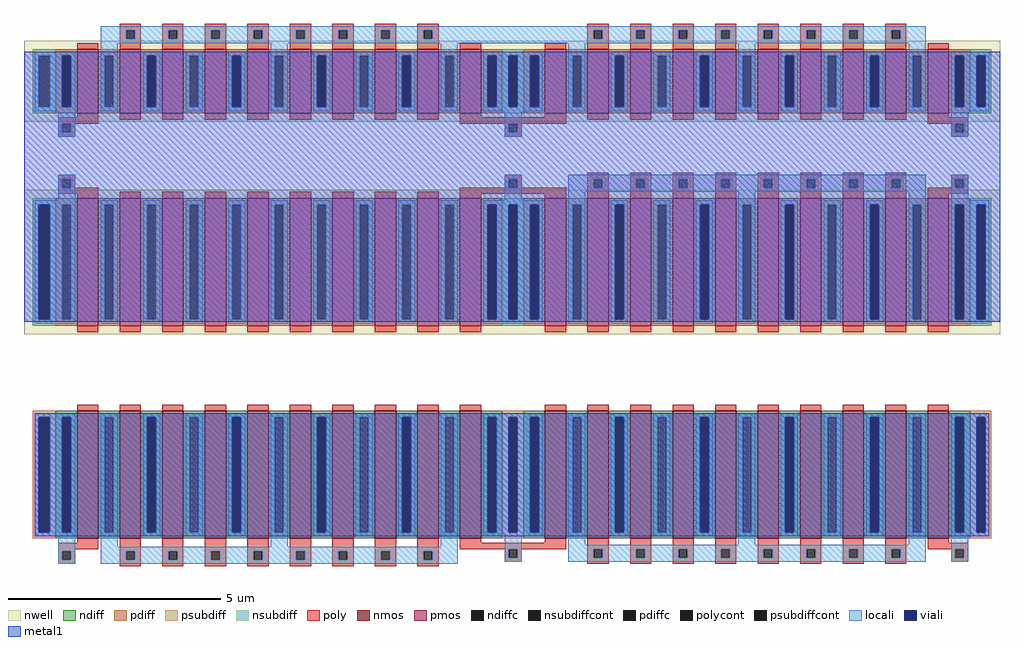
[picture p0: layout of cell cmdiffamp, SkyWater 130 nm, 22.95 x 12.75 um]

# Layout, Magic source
magic
tech sky130A
<< nwell >>
rect -60 975 2235 1165
rect -60 475 2235 815
<< nmos >>
rect 65 -5 115 295
rect 165 -5 215 295
rect 265 -5 315 295
rect 365 -5 415 295
rect 465 -5 515 295
rect 565 -5 615 295
rect 665 -5 715 295
rect 765 -5 815 295
rect 865 -5 915 295
rect 965 -5 1015 295
rect 1165 -5 1215 295
rect 1265 -5 1315 295
rect 1365 -5 1415 295
rect 1465 -5 1515 295
rect 1565 -5 1615 295
rect 1665 -5 1715 295
rect 1765 -5 1815 295
rect 1865 -5 1915 295
rect 1965 -5 2015 295
rect 2065 -5 2115 295
<< pmos >>
rect 65 995 115 1145
rect 165 995 215 1145
rect 265 995 315 1145
rect 365 995 415 1145
rect 465 995 515 1145
rect 565 995 615 1145
rect 665 995 715 1145
rect 765 995 815 1145
rect 865 995 915 1145
rect 965 995 1015 1145
rect 1165 995 1215 1145
rect 1265 995 1315 1145
rect 1365 995 1415 1145
rect 1465 995 1515 1145
rect 1565 995 1615 1145
rect 1665 995 1715 1145
rect 1765 995 1815 1145
rect 1865 995 1915 1145
rect 1965 995 2015 1145
rect 2065 995 2115 1145
rect 65 495 115 795
rect 165 495 215 795
rect 265 495 315 795
rect 365 495 415 795
rect 465 495 515 795
rect 565 495 615 795
rect 665 495 715 795
rect 765 495 815 795
rect 865 495 915 795
rect 965 495 1015 795
rect 1165 495 1215 795
rect 1265 495 1315 795
rect 1365 495 1415 795
rect 1465 495 1515 795
rect 1565 495 1615 795
rect 1665 495 1715 795
rect 1765 495 1815 795
rect 1865 495 1915 795
rect 1965 495 2015 795
rect 2065 495 2115 795
<< ndiff >>
rect 15 280 65 295
rect 15 10 30 280
rect 50 10 65 280
rect 15 -5 65 10
rect 115 280 165 295
rect 115 10 130 280
rect 150 10 165 280
rect 115 -5 165 10
rect 215 280 265 295
rect 215 10 230 280
rect 250 10 265 280
rect 215 -5 265 10
rect 315 280 365 295
rect 315 10 330 280
rect 350 10 365 280
rect 315 -5 365 10
rect 415 280 465 295
rect 415 10 430 280
rect 450 10 465 280
rect 415 -5 465 10
rect 515 280 565 295
rect 515 10 530 280
rect 550 10 565 280
rect 515 -5 565 10
rect 615 280 665 295
rect 615 10 630 280
rect 650 10 665 280
rect 615 -5 665 10
rect 715 280 765 295
rect 715 10 730 280
rect 750 10 765 280
rect 715 -5 765 10
rect 815 280 865 295
rect 815 10 830 280
rect 850 10 865 280
rect 815 -5 865 10
rect 915 280 965 295
rect 915 10 930 280
rect 950 10 965 280
rect 915 -5 965 10
rect 1015 280 1065 295
rect 1115 280 1165 295
rect 1015 10 1030 280
rect 1050 10 1065 280
rect 1115 10 1130 280
rect 1150 10 1165 280
rect 1015 -5 1065 10
rect 1115 -5 1165 10
rect 1215 280 1265 295
rect 1215 10 1230 280
rect 1250 10 1265 280
rect 1215 -5 1265 10
rect 1315 280 1365 295
rect 1315 10 1330 280
rect 1350 10 1365 280
rect 1315 -5 1365 10
rect 1415 280 1465 295
rect 1415 10 1430 280
rect 1450 10 1465 280
rect 1415 -5 1465 10
rect 1515 280 1565 295
rect 1515 10 1530 280
rect 1550 10 1565 280
rect 1515 -5 1565 10
rect 1615 280 1665 295
rect 1615 10 1630 280
rect 1650 10 1665 280
rect 1615 -5 1665 10
rect 1715 280 1765 295
rect 1715 10 1730 280
rect 1750 10 1765 280
rect 1715 -5 1765 10
rect 1815 280 1865 295
rect 1815 10 1830 280
rect 1850 10 1865 280
rect 1815 -5 1865 10
rect 1915 280 1965 295
rect 1915 10 1930 280
rect 1950 10 1965 280
rect 1915 -5 1965 10
rect 2015 280 2065 295
rect 2015 10 2030 280
rect 2050 10 2065 280
rect 2015 -5 2065 10
rect 2115 280 2165 295
rect 2115 10 2130 280
rect 2150 10 2165 280
rect 2115 -5 2165 10
<< pdiff >>
rect 15 1130 65 1145
rect 15 1010 30 1130
rect 50 1010 65 1130
rect 15 995 65 1010
rect 115 1130 165 1145
rect 115 1010 130 1130
rect 150 1010 165 1130
rect 115 995 165 1010
rect 215 1130 265 1145
rect 215 1010 230 1130
rect 250 1010 265 1130
rect 215 995 265 1010
rect 315 1130 365 1145
rect 315 1010 330 1130
rect 350 1010 365 1130
rect 315 995 365 1010
rect 415 1130 465 1145
rect 415 1010 430 1130
rect 450 1010 465 1130
rect 415 995 465 1010
rect 515 1130 565 1145
rect 515 1010 530 1130
rect 550 1010 565 1130
rect 515 995 565 1010
rect 615 1130 665 1145
rect 615 1010 630 1130
rect 650 1010 665 1130
rect 615 995 665 1010
rect 715 1130 765 1145
rect 715 1010 730 1130
rect 750 1010 765 1130
rect 715 995 765 1010
rect 815 1130 865 1145
rect 815 1010 830 1130
rect 850 1010 865 1130
rect 815 995 865 1010
rect 915 1130 965 1145
rect 915 1010 930 1130
rect 950 1010 965 1130
rect 915 995 965 1010
rect 1015 1130 1065 1145
rect 1115 1130 1165 1145
rect 1015 1010 1030 1130
rect 1050 1010 1065 1130
rect 1115 1010 1130 1130
rect 1150 1010 1165 1130
rect 1015 995 1065 1010
rect 1115 995 1165 1010
rect 1215 1130 1265 1145
rect 1215 1010 1230 1130
rect 1250 1010 1265 1130
rect 1215 995 1265 1010
rect 1315 1130 1365 1145
rect 1315 1010 1330 1130
rect 1350 1010 1365 1130
rect 1315 995 1365 1010
rect 1415 1130 1465 1145
rect 1415 1010 1430 1130
rect 1450 1010 1465 1130
rect 1415 995 1465 1010
rect 1515 1130 1565 1145
rect 1515 1010 1530 1130
rect 1550 1010 1565 1130
rect 1515 995 1565 1010
rect 1615 1130 1665 1145
rect 1615 1010 1630 1130
rect 1650 1010 1665 1130
rect 1615 995 1665 1010
rect 1715 1130 1765 1145
rect 1715 1010 1730 1130
rect 1750 1010 1765 1130
rect 1715 995 1765 1010
rect 1815 1130 1865 1145
rect 1815 1010 1830 1130
rect 1850 1010 1865 1130
rect 1815 995 1865 1010
rect 1915 1130 1965 1145
rect 1915 1010 1930 1130
rect 1950 1010 1965 1130
rect 1915 995 1965 1010
rect 2015 1130 2065 1145
rect 2015 1010 2030 1130
rect 2050 1010 2065 1130
rect 2015 995 2065 1010
rect 2115 1130 2165 1145
rect 2115 1010 2130 1130
rect 2150 1010 2165 1130
rect 2115 995 2165 1010
rect 15 780 65 795
rect 15 510 30 780
rect 50 510 65 780
rect 15 495 65 510
rect 115 780 165 795
rect 115 510 130 780
rect 150 510 165 780
rect 115 495 165 510
rect 215 780 265 795
rect 215 510 230 780
rect 250 510 265 780
rect 215 495 265 510
rect 315 780 365 795
rect 315 510 330 780
rect 350 510 365 780
rect 315 495 365 510
rect 415 780 465 795
rect 415 510 430 780
rect 450 510 465 780
rect 415 495 465 510
rect 515 780 565 795
rect 515 510 530 780
rect 550 510 565 780
rect 515 495 565 510
rect 615 780 665 795
rect 615 510 630 780
rect 650 510 665 780
rect 615 495 665 510
rect 715 780 765 795
rect 715 510 730 780
rect 750 510 765 780
rect 715 495 765 510
rect 815 780 865 795
rect 815 510 830 780
rect 850 510 865 780
rect 815 495 865 510
rect 915 780 965 795
rect 915 510 930 780
rect 950 510 965 780
rect 915 495 965 510
rect 1015 780 1065 795
rect 1115 780 1165 795
rect 1015 510 1030 780
rect 1050 510 1065 780
rect 1115 510 1130 780
rect 1150 510 1165 780
rect 1015 495 1065 510
rect 1115 495 1165 510
rect 1215 780 1265 795
rect 1215 510 1230 780
rect 1250 510 1265 780
rect 1215 495 1265 510
rect 1315 780 1365 795
rect 1315 510 1330 780
rect 1350 510 1365 780
rect 1315 495 1365 510
rect 1415 780 1465 795
rect 1415 510 1430 780
rect 1450 510 1465 780
rect 1415 495 1465 510
rect 1515 780 1565 795
rect 1515 510 1530 780
rect 1550 510 1565 780
rect 1515 495 1565 510
rect 1615 780 1665 795
rect 1615 510 1630 780
rect 1650 510 1665 780
rect 1615 495 1665 510
rect 1715 780 1765 795
rect 1715 510 1730 780
rect 1750 510 1765 780
rect 1715 495 1765 510
rect 1815 780 1865 795
rect 1815 510 1830 780
rect 1850 510 1865 780
rect 1815 495 1865 510
rect 1915 780 1965 795
rect 1915 510 1930 780
rect 1950 510 1965 780
rect 1915 495 1965 510
rect 2015 780 2065 795
rect 2015 510 2030 780
rect 2050 510 2065 780
rect 2015 495 2065 510
rect 2115 780 2165 795
rect 2115 510 2130 780
rect 2150 510 2165 780
rect 2115 495 2165 510
<< ndiffc >>
rect 30 10 50 280
rect 130 10 150 280
rect 230 10 250 280
rect 330 10 350 280
rect 430 10 450 280
rect 530 10 550 280
rect 630 10 650 280
rect 730 10 750 280
rect 830 10 850 280
rect 930 10 950 280
rect 1030 10 1050 280
rect 1130 10 1150 280
rect 1230 10 1250 280
rect 1330 10 1350 280
rect 1430 10 1450 280
rect 1530 10 1550 280
rect 1630 10 1650 280
rect 1730 10 1750 280
rect 1830 10 1850 280
rect 1930 10 1950 280
rect 2030 10 2050 280
rect 2130 10 2150 280
<< pdiffc >>
rect 30 1010 50 1130
rect 130 1010 150 1130
rect 230 1010 250 1130
rect 330 1010 350 1130
rect 430 1010 450 1130
rect 530 1010 550 1130
rect 630 1010 650 1130
rect 730 1010 750 1130
rect 830 1010 850 1130
rect 930 1010 950 1130
rect 1030 1010 1050 1130
rect 1130 1010 1150 1130
rect 1230 1010 1250 1130
rect 1330 1010 1350 1130
rect 1430 1010 1450 1130
rect 1530 1010 1550 1130
rect 1630 1010 1650 1130
rect 1730 1010 1750 1130
rect 1830 1010 1850 1130
rect 1930 1010 1950 1130
rect 2030 1010 2050 1130
rect 2130 1010 2150 1130
rect 30 510 50 780
rect 130 510 150 780
rect 230 510 250 780
rect 330 510 350 780
rect 430 510 450 780
rect 530 510 550 780
rect 630 510 650 780
rect 730 510 750 780
rect 830 510 850 780
rect 930 510 950 780
rect 1030 510 1050 780
rect 1130 510 1150 780
rect 1230 510 1250 780
rect 1330 510 1350 780
rect 1430 510 1450 780
rect 1530 510 1550 780
rect 1630 510 1650 780
rect 1730 510 1750 780
rect 1830 510 1850 780
rect 1930 510 1950 780
rect 2030 510 2050 780
rect 2130 510 2150 780
<< psubdiff >>
rect -40 280 15 295
rect -40 10 -25 280
rect 0 10 15 280
rect -40 -5 15 10
rect 1065 280 1115 295
rect 1065 10 1080 280
rect 1100 10 1115 280
rect 1065 -5 1115 10
rect 2165 280 2215 295
rect 2165 10 2180 280
rect 2200 10 2215 280
rect 2165 -5 2215 10
<< nsubdiff >>
rect -40 1130 15 1145
rect -40 1010 -25 1130
rect 0 1010 15 1130
rect -40 995 15 1010
rect 1065 1130 1115 1145
rect 1065 1010 1080 1130
rect 1100 1010 1115 1130
rect 1065 995 1115 1010
rect 2165 1130 2215 1145
rect 2165 1010 2180 1130
rect 2200 1010 2215 1130
rect 2165 995 2215 1010
rect -40 780 15 795
rect -40 510 -25 780
rect 0 510 15 780
rect -40 495 15 510
rect 1065 780 1115 795
rect 1065 510 1080 780
rect 1100 510 1115 780
rect 1065 495 1115 510
rect 2165 780 2215 795
rect 2165 510 2180 780
rect 2200 510 2215 780
rect 2165 495 2215 510
<< psubdiffcont >>
rect -25 10 0 280
rect 1080 10 1100 280
rect 2180 10 2200 280
<< nsubdiffcont >>
rect -25 1010 0 1130
rect 1080 1010 1100 1130
rect 2180 1010 2200 1130
rect -25 510 0 780
rect 1080 510 1100 780
rect 2180 510 2200 780
<< poly >>
rect 165 1190 215 1205
rect 165 1170 180 1190
rect 200 1170 215 1190
rect 65 1145 115 1160
rect 165 1145 215 1170
rect 265 1190 315 1205
rect 265 1170 280 1190
rect 300 1170 315 1190
rect 265 1145 315 1170
rect 365 1190 415 1205
rect 365 1170 380 1190
rect 400 1170 415 1190
rect 365 1145 415 1170
rect 465 1190 515 1205
rect 465 1170 480 1190
rect 500 1170 515 1190
rect 465 1145 515 1170
rect 565 1190 615 1205
rect 565 1170 580 1190
rect 600 1170 615 1190
rect 565 1145 615 1170
rect 665 1190 715 1205
rect 665 1170 680 1190
rect 700 1170 715 1190
rect 665 1145 715 1170
rect 765 1190 815 1205
rect 765 1170 780 1190
rect 800 1170 815 1190
rect 765 1145 815 1170
rect 865 1190 915 1205
rect 865 1170 880 1190
rect 900 1170 915 1190
rect 865 1145 915 1170
rect 1265 1190 1315 1205
rect 1265 1170 1280 1190
rect 1300 1170 1315 1190
rect 965 1145 1015 1160
rect 1165 1145 1215 1160
rect 1265 1145 1315 1170
rect 1365 1190 1415 1205
rect 1365 1170 1380 1190
rect 1400 1170 1415 1190
rect 1365 1145 1415 1170
rect 1465 1190 1515 1205
rect 1465 1170 1480 1190
rect 1500 1170 1515 1190
rect 1465 1145 1515 1170
rect 1565 1190 1615 1205
rect 1565 1170 1580 1190
rect 1600 1170 1615 1190
rect 1565 1145 1615 1170
rect 1665 1190 1715 1205
rect 1665 1170 1680 1190
rect 1700 1170 1715 1190
rect 1665 1145 1715 1170
rect 1765 1190 1815 1205
rect 1765 1170 1780 1190
rect 1800 1170 1815 1190
rect 1765 1145 1815 1170
rect 1865 1190 1915 1205
rect 1865 1170 1880 1190
rect 1900 1170 1915 1190
rect 1865 1145 1915 1170
rect 1965 1190 2015 1205
rect 1965 1170 1980 1190
rect 2000 1170 2015 1190
rect 1965 1145 2015 1170
rect 2065 1145 2115 1160
rect 65 985 115 995
rect 20 970 115 985
rect 165 980 215 995
rect 265 980 315 995
rect 365 980 415 995
rect 465 980 515 995
rect 565 980 615 995
rect 665 980 715 995
rect 765 980 815 995
rect 865 980 915 995
rect 965 985 1015 995
rect 1165 985 1215 995
rect 965 970 1215 985
rect 1265 980 1315 995
rect 1365 980 1415 995
rect 1465 980 1515 995
rect 1565 980 1615 995
rect 1665 980 1715 995
rect 1765 980 1815 995
rect 1865 980 1915 995
rect 1965 980 2015 995
rect 2065 985 2115 995
rect 2065 970 2160 985
rect 20 950 30 970
rect 50 950 60 970
rect 20 940 60 950
rect 1070 950 1080 970
rect 1100 950 1110 970
rect 1070 940 1110 950
rect 2120 950 2130 970
rect 2150 950 2160 970
rect 2120 940 2160 950
rect 20 840 60 850
rect 20 820 30 840
rect 50 820 60 840
rect 1070 840 1110 850
rect 1070 820 1080 840
rect 1100 820 1110 840
rect 1265 840 1315 855
rect 1265 820 1280 840
rect 1300 820 1315 840
rect 20 805 115 820
rect 65 795 115 805
rect 165 795 215 810
rect 265 795 315 810
rect 365 795 415 810
rect 465 795 515 810
rect 565 795 615 810
rect 665 795 715 810
rect 765 795 815 810
rect 865 795 915 810
rect 965 805 1215 820
rect 965 795 1015 805
rect 1165 795 1215 805
rect 1265 795 1315 820
rect 1365 840 1415 855
rect 1365 820 1380 840
rect 1400 820 1415 840
rect 1365 795 1415 820
rect 1465 840 1515 855
rect 1465 820 1480 840
rect 1500 820 1515 840
rect 1465 795 1515 820
rect 1565 840 1615 855
rect 1565 820 1580 840
rect 1600 820 1615 840
rect 1565 795 1615 820
rect 1665 840 1715 855
rect 1665 820 1680 840
rect 1700 820 1715 840
rect 1665 795 1715 820
rect 1765 840 1815 855
rect 1765 820 1780 840
rect 1800 820 1815 840
rect 1765 795 1815 820
rect 1865 840 1915 855
rect 1865 820 1880 840
rect 1900 820 1915 840
rect 1865 795 1915 820
rect 1965 840 2015 855
rect 1965 820 1980 840
rect 2000 820 2015 840
rect 2120 840 2160 850
rect 2120 820 2130 840
rect 2150 820 2160 840
rect 1965 795 2015 820
rect 2065 805 2160 820
rect 2065 795 2115 805
rect 65 480 115 495
rect 165 480 215 495
rect 265 480 315 495
rect 365 480 415 495
rect 465 480 515 495
rect 565 480 615 495
rect 665 480 715 495
rect 765 480 815 495
rect 865 480 915 495
rect 965 480 1015 495
rect 1165 480 1215 495
rect 1265 480 1315 495
rect 1365 480 1415 495
rect 1465 480 1515 495
rect 1565 480 1615 495
rect 1665 480 1715 495
rect 1765 480 1815 495
rect 1865 480 1915 495
rect 1965 480 2015 495
rect 2065 480 2115 495
rect 65 295 115 310
rect 165 295 215 310
rect 265 295 315 310
rect 365 295 415 310
rect 465 295 515 310
rect 565 295 615 310
rect 665 295 715 310
rect 765 295 815 310
rect 865 295 915 310
rect 965 295 1015 310
rect 1165 295 1215 310
rect 1265 295 1315 310
rect 1365 295 1415 310
rect 1465 295 1515 310
rect 1565 295 1615 310
rect 1665 295 1715 310
rect 1765 295 1815 310
rect 1865 295 1915 310
rect 1965 295 2015 310
rect 2065 295 2115 310
rect 65 -15 115 -5
rect 20 -30 115 -15
rect 20 -35 60 -30
rect 20 -55 30 -35
rect 50 -55 60 -35
rect 20 -65 60 -55
rect 165 -35 215 -5
rect 165 -55 180 -35
rect 200 -55 215 -35
rect 165 -70 215 -55
rect 265 -35 315 -5
rect 265 -55 280 -35
rect 300 -55 315 -35
rect 265 -70 315 -55
rect 365 -35 415 -5
rect 365 -55 380 -35
rect 400 -55 415 -35
rect 365 -70 415 -55
rect 465 -35 515 -5
rect 465 -55 480 -35
rect 500 -55 515 -35
rect 465 -70 515 -55
rect 565 -35 615 -5
rect 565 -55 580 -35
rect 600 -55 615 -35
rect 565 -70 615 -55
rect 665 -35 715 -5
rect 665 -55 680 -35
rect 700 -55 715 -35
rect 665 -70 715 -55
rect 765 -35 815 -5
rect 765 -55 780 -35
rect 800 -55 815 -35
rect 765 -70 815 -55
rect 865 -35 915 -5
rect 965 -15 1015 -5
rect 1165 -15 1215 -5
rect 965 -30 1215 -15
rect 1265 -30 1315 -5
rect 865 -55 880 -35
rect 900 -55 915 -35
rect 865 -70 915 -55
rect 1070 -50 1080 -30
rect 1100 -50 1110 -30
rect 1070 -60 1110 -50
rect 1265 -50 1280 -30
rect 1300 -50 1315 -30
rect 1265 -65 1315 -50
rect 1365 -30 1415 -5
rect 1365 -50 1380 -30
rect 1400 -50 1415 -30
rect 1365 -65 1415 -50
rect 1465 -30 1515 -5
rect 1465 -50 1480 -30
rect 1500 -50 1515 -30
rect 1465 -65 1515 -50
rect 1565 -30 1615 -5
rect 1565 -50 1580 -30
rect 1600 -50 1615 -30
rect 1565 -65 1615 -50
rect 1665 -30 1715 -5
rect 1665 -50 1680 -30
rect 1700 -50 1715 -30
rect 1665 -65 1715 -50
rect 1765 -30 1815 -5
rect 1765 -50 1780 -30
rect 1800 -50 1815 -30
rect 1765 -65 1815 -50
rect 1865 -30 1915 -5
rect 1865 -50 1880 -30
rect 1900 -50 1915 -30
rect 1865 -65 1915 -50
rect 1965 -30 2015 -5
rect 2065 -15 2115 -5
rect 2065 -30 2160 -15
rect 1965 -50 1980 -30
rect 2000 -50 2015 -30
rect 1965 -65 2015 -50
rect 2120 -50 2130 -30
rect 2150 -50 2160 -30
rect 2120 -60 2160 -50
<< polycont >>
rect 180 1170 200 1190
rect 280 1170 300 1190
rect 380 1170 400 1190
rect 480 1170 500 1190
rect 580 1170 600 1190
rect 680 1170 700 1190
rect 780 1170 800 1190
rect 880 1170 900 1190
rect 1280 1170 1300 1190
rect 1380 1170 1400 1190
rect 1480 1170 1500 1190
rect 1580 1170 1600 1190
rect 1680 1170 1700 1190
rect 1780 1170 1800 1190
rect 1880 1170 1900 1190
rect 1980 1170 2000 1190
rect 30 950 50 970
rect 1080 950 1100 970
rect 2130 950 2150 970
rect 30 820 50 840
rect 1080 820 1100 840
rect 1280 820 1300 840
rect 1380 820 1400 840
rect 1480 820 1500 840
rect 1580 820 1600 840
rect 1680 820 1700 840
rect 1780 820 1800 840
rect 1880 820 1900 840
rect 1980 820 2000 840
rect 2130 820 2150 840
rect 30 -55 50 -35
rect 180 -55 200 -35
rect 280 -55 300 -35
rect 380 -55 400 -35
rect 480 -55 500 -35
rect 580 -55 600 -35
rect 680 -55 700 -35
rect 780 -55 800 -35
rect 880 -55 900 -35
rect 1080 -50 1100 -30
rect 1280 -50 1300 -30
rect 1380 -50 1400 -30
rect 1480 -50 1500 -30
rect 1580 -50 1600 -30
rect 1680 -50 1700 -30
rect 1780 -50 1800 -30
rect 1880 -50 1900 -30
rect 1980 -50 2000 -30
rect 2130 -50 2150 -30
<< locali >>
rect 120 1190 2060 1200
rect 120 1170 180 1190
rect 200 1170 280 1190
rect 300 1170 380 1190
rect 400 1170 480 1190
rect 500 1170 580 1190
rect 600 1170 680 1190
rect 700 1170 780 1190
rect 800 1170 880 1190
rect 900 1170 1280 1190
rect 1300 1170 1380 1190
rect 1400 1170 1480 1190
rect 1500 1170 1580 1190
rect 1600 1170 1680 1190
rect 1700 1170 1780 1190
rect 1800 1170 1880 1190
rect 1900 1170 1980 1190
rect 2000 1170 2060 1190
rect 120 1160 2060 1170
rect -35 1130 60 1140
rect -35 1010 -25 1130
rect 0 1010 30 1130
rect 50 1010 60 1130
rect -35 1000 60 1010
rect 120 1130 160 1160
rect 120 1010 130 1130
rect 150 1010 160 1130
rect 120 1000 160 1010
rect 220 1130 260 1140
rect 220 1010 230 1130
rect 250 1010 260 1130
rect 220 1000 260 1010
rect 320 1130 360 1140
rect 320 1010 330 1130
rect 350 1010 360 1130
rect 320 1000 360 1010
rect 420 1130 460 1140
rect 420 1010 430 1130
rect 450 1010 460 1130
rect 420 1000 460 1010
rect 520 1130 560 1160
rect 520 1010 530 1130
rect 550 1010 560 1130
rect 520 1000 560 1010
rect 620 1130 660 1140
rect 620 1010 630 1130
rect 650 1010 660 1130
rect 620 1000 660 1010
rect 720 1130 760 1140
rect 720 1010 730 1130
rect 750 1010 760 1130
rect 720 1000 760 1010
rect 820 1130 860 1140
rect 820 1010 830 1130
rect 850 1010 860 1130
rect 820 1000 860 1010
rect 920 1130 960 1160
rect 920 1010 930 1130
rect 950 1010 960 1130
rect 920 1000 960 1010
rect 1020 1130 1160 1140
rect 1020 1010 1030 1130
rect 1050 1010 1080 1130
rect 1100 1010 1130 1130
rect 1150 1010 1160 1130
rect 1020 1000 1160 1010
rect 1220 1130 1260 1160
rect 1220 1010 1230 1130
rect 1250 1010 1260 1130
rect 1220 1000 1260 1010
rect 1320 1130 1360 1140
rect 1320 1010 1330 1130
rect 1350 1010 1360 1130
rect 1320 1000 1360 1010
rect 1420 1130 1460 1140
rect 1420 1010 1430 1130
rect 1450 1010 1460 1130
rect 1420 1000 1460 1010
rect 1520 1130 1560 1140
rect 1520 1010 1530 1130
rect 1550 1010 1560 1130
rect 1520 1000 1560 1010
rect 1620 1130 1660 1160
rect 1620 1010 1630 1130
rect 1650 1010 1660 1130
rect 1620 1000 1660 1010
rect 1720 1130 1760 1140
rect 1720 1010 1730 1130
rect 1750 1010 1760 1130
rect 1720 1000 1760 1010
rect 1820 1130 1860 1140
rect 1820 1010 1830 1130
rect 1850 1010 1860 1130
rect 1820 1000 1860 1010
rect 1920 1130 1960 1140
rect 1920 1010 1930 1130
rect 1950 1010 1960 1130
rect 1920 1000 1960 1010
rect 2020 1130 2060 1160
rect 2020 1010 2030 1130
rect 2050 1010 2060 1130
rect 2020 1000 2060 1010
rect 2120 1130 2210 1140
rect 2120 1010 2130 1130
rect 2150 1010 2180 1130
rect 2200 1010 2210 1130
rect 2120 1000 2210 1010
rect 20 970 60 1000
rect 20 950 30 970
rect 50 950 60 970
rect 20 940 60 950
rect 1070 970 1110 1000
rect 1070 950 1080 970
rect 1100 950 1110 970
rect 1070 940 1110 950
rect 2120 970 2160 1000
rect 2120 950 2130 970
rect 2150 950 2160 970
rect 2120 940 2160 950
rect 20 840 60 850
rect 20 820 30 840
rect 50 820 60 840
rect 20 790 60 820
rect 1070 840 1110 850
rect 1070 820 1080 840
rect 1100 820 1110 840
rect 1070 790 1110 820
rect 1220 840 2060 850
rect 1220 820 1280 840
rect 1300 820 1380 840
rect 1400 820 1480 840
rect 1500 820 1580 840
rect 1600 820 1680 840
rect 1700 820 1780 840
rect 1800 820 1880 840
rect 1900 820 1980 840
rect 2000 820 2060 840
rect 1220 810 2060 820
rect -35 780 60 790
rect -35 510 -25 780
rect 0 510 30 780
rect 50 510 60 780
rect -35 500 60 510
rect 120 780 160 790
rect 120 510 130 780
rect 150 510 160 780
rect 120 500 160 510
rect 220 780 260 790
rect 220 510 230 780
rect 250 510 260 780
rect 220 500 260 510
rect 320 780 360 790
rect 320 510 330 780
rect 350 510 360 780
rect 320 500 360 510
rect 420 780 460 790
rect 420 510 430 780
rect 450 510 460 780
rect 420 500 460 510
rect 520 780 560 790
rect 520 510 530 780
rect 550 510 560 780
rect 520 500 560 510
rect 620 780 660 790
rect 620 510 630 780
rect 650 510 660 780
rect 620 500 660 510
rect 720 780 760 790
rect 720 510 730 780
rect 750 510 760 780
rect 720 500 760 510
rect 820 780 860 790
rect 820 510 830 780
rect 850 510 860 780
rect 820 500 860 510
rect 920 780 960 790
rect 920 510 930 780
rect 950 510 960 780
rect 920 500 960 510
rect 1020 780 1160 790
rect 1020 510 1030 780
rect 1050 510 1080 780
rect 1100 510 1130 780
rect 1150 510 1160 780
rect 1020 500 1160 510
rect 1220 780 1260 810
rect 1220 510 1230 780
rect 1250 510 1260 780
rect 1220 500 1260 510
rect 1320 780 1360 790
rect 1320 510 1330 780
rect 1350 510 1360 780
rect 1320 500 1360 510
rect 1420 780 1460 790
rect 1420 510 1430 780
rect 1450 510 1460 780
rect 1420 500 1460 510
rect 1520 780 1560 790
rect 1520 510 1530 780
rect 1550 510 1560 780
rect 1520 500 1560 510
rect 1620 780 1660 810
rect 1620 510 1630 780
rect 1650 510 1660 780
rect 1620 500 1660 510
rect 1720 780 1760 790
rect 1720 510 1730 780
rect 1750 510 1760 780
rect 1720 500 1760 510
rect 1820 780 1860 790
rect 1820 510 1830 780
rect 1850 510 1860 780
rect 1820 500 1860 510
rect 1920 780 1960 790
rect 1920 510 1930 780
rect 1950 510 1960 780
rect 1920 500 1960 510
rect 2020 780 2060 810
rect 2020 510 2030 780
rect 2050 510 2060 780
rect 2020 500 2060 510
rect 2120 840 2160 850
rect 2120 820 2130 840
rect 2150 820 2160 840
rect 2120 790 2160 820
rect 2120 780 2210 790
rect 2120 510 2130 780
rect 2150 510 2180 780
rect 2200 510 2210 780
rect 2120 500 2210 510
rect -35 280 60 290
rect -35 10 -25 280
rect 0 10 30 280
rect 50 10 60 280
rect -35 0 60 10
rect 20 -35 60 0
rect 20 -55 30 -35
rect 50 -55 60 -35
rect 20 -65 60 -55
rect 120 280 160 290
rect 120 10 130 280
rect 150 10 160 280
rect 120 -25 160 10
rect 220 280 260 290
rect 220 10 230 280
rect 250 10 260 280
rect 220 0 260 10
rect 320 280 360 290
rect 320 10 330 280
rect 350 10 360 280
rect 320 0 360 10
rect 420 280 460 290
rect 420 10 430 280
rect 450 10 460 280
rect 420 0 460 10
rect 520 280 560 290
rect 520 10 530 280
rect 550 10 560 280
rect 520 -25 560 10
rect 620 280 660 290
rect 620 10 630 280
rect 650 10 660 280
rect 620 0 660 10
rect 720 280 760 290
rect 720 10 730 280
rect 750 10 760 280
rect 720 0 760 10
rect 820 280 860 290
rect 820 10 830 280
rect 850 10 860 280
rect 820 0 860 10
rect 920 280 960 290
rect 920 10 930 280
rect 950 10 960 280
rect 920 -25 960 10
rect 1020 280 1160 290
rect 1020 10 1030 280
rect 1050 10 1080 280
rect 1100 10 1130 280
rect 1150 10 1160 280
rect 1020 0 1160 10
rect 1220 280 1260 290
rect 1220 10 1230 280
rect 1250 10 1260 280
rect 120 -35 960 -25
rect 120 -55 180 -35
rect 200 -55 280 -35
rect 300 -55 380 -35
rect 400 -55 480 -35
rect 500 -55 580 -35
rect 600 -55 680 -35
rect 700 -55 780 -35
rect 800 -55 880 -35
rect 900 -55 960 -35
rect 120 -65 960 -55
rect 1070 -30 1110 0
rect 1070 -50 1080 -30
rect 1100 -50 1110 -30
rect 1070 -60 1110 -50
rect 1220 -20 1260 10
rect 1320 280 1360 290
rect 1320 10 1330 280
rect 1350 10 1360 280
rect 1320 0 1360 10
rect 1420 280 1460 290
rect 1420 10 1430 280
rect 1450 10 1460 280
rect 1420 0 1460 10
rect 1520 280 1560 290
rect 1520 10 1530 280
rect 1550 10 1560 280
rect 1520 0 1560 10
rect 1620 280 1660 290
rect 1620 10 1630 280
rect 1650 10 1660 280
rect 1620 -20 1660 10
rect 1720 280 1760 290
rect 1720 10 1730 280
rect 1750 10 1760 280
rect 1720 0 1760 10
rect 1820 280 1860 290
rect 1820 10 1830 280
rect 1850 10 1860 280
rect 1820 0 1860 10
rect 1920 280 1960 290
rect 1920 10 1930 280
rect 1950 10 1960 280
rect 1920 0 1960 10
rect 2020 280 2060 290
rect 2020 10 2030 280
rect 2050 10 2060 280
rect 2020 -20 2060 10
rect 1220 -30 2060 -20
rect 1220 -50 1280 -30
rect 1300 -50 1380 -30
rect 1400 -50 1480 -30
rect 1500 -50 1580 -30
rect 1600 -50 1680 -30
rect 1700 -50 1780 -30
rect 1800 -50 1880 -30
rect 1900 -50 1980 -30
rect 2000 -50 2060 -30
rect 1220 -60 2060 -50
rect 2120 280 2210 290
rect 2120 10 2130 280
rect 2150 10 2180 280
rect 2200 10 2210 280
rect 2120 0 2210 10
rect 2120 -30 2160 0
rect 2120 -50 2130 -30
rect 2150 -50 2160 -30
rect 2120 -60 2160 -50
<< viali >>
rect 30 1010 50 1130
rect 230 1010 250 1130
rect 430 1010 450 1130
rect 630 1010 650 1130
rect 830 1010 850 1130
rect 1030 1010 1050 1130
rect 1080 1010 1100 1130
rect 1130 1010 1150 1130
rect 1330 1010 1350 1130
rect 1530 1010 1550 1130
rect 1730 1010 1750 1130
rect 1930 1010 1950 1130
rect 2130 1010 2150 1130
rect 2180 1010 2200 1130
rect -25 510 0 780
rect 1030 510 1050 780
rect 1080 510 1100 780
rect 1130 510 1150 780
rect 1330 510 1350 780
rect 1530 510 1550 780
rect 1730 510 1750 780
rect 1930 510 1950 780
rect 2130 510 2150 780
rect 2180 510 2200 780
rect -25 10 0 280
rect 30 10 50 280
rect 230 10 250 280
rect 430 10 450 280
rect 630 10 650 280
rect 830 10 850 280
rect 1030 10 1050 280
rect 1080 10 1100 280
rect 1130 10 1150 280
rect 1330 10 1350 280
rect 1530 10 1550 280
rect 1730 10 1750 280
rect 1930 10 1950 280
rect 2130 10 2150 280
rect 2180 10 2200 280
<< metal1 >>
rect -60 1130 2235 1140
rect -60 1010 30 1130
rect 50 1010 230 1130
rect 250 1010 430 1130
rect 450 1010 630 1130
rect 650 1010 830 1130
rect 850 1010 1030 1130
rect 1050 1010 1080 1130
rect 1100 1010 1130 1130
rect 1150 1010 1330 1130
rect 1350 1010 1530 1130
rect 1550 1010 1730 1130
rect 1750 1010 1930 1130
rect 1950 1010 2130 1130
rect 2150 1010 2180 1130
rect 2200 1010 2235 1130
rect -60 780 2235 1010
rect -60 510 -25 780
rect 0 510 1030 780
rect 1050 510 1080 780
rect 1100 510 1130 780
rect 1150 510 1330 780
rect 1350 510 1530 780
rect 1550 510 1730 780
rect 1750 510 1930 780
rect 1950 510 2130 780
rect 2150 510 2180 780
rect 2200 510 2235 780
rect -60 505 2235 510
rect -35 280 2210 290
rect -35 10 -25 280
rect 0 10 30 280
rect 50 10 230 280
rect 250 10 430 280
rect 450 10 630 280
rect 650 10 830 280
rect 850 10 1030 280
rect 1050 10 1080 280
rect 1100 10 1130 280
rect 1150 10 1330 280
rect 1350 10 1530 280
rect 1550 10 1730 280
rect 1750 10 1930 280
rect 1950 10 2130 280
rect 2150 10 2180 280
rect 2200 10 2210 280
rect -35 0 2210 10
<< end >>
